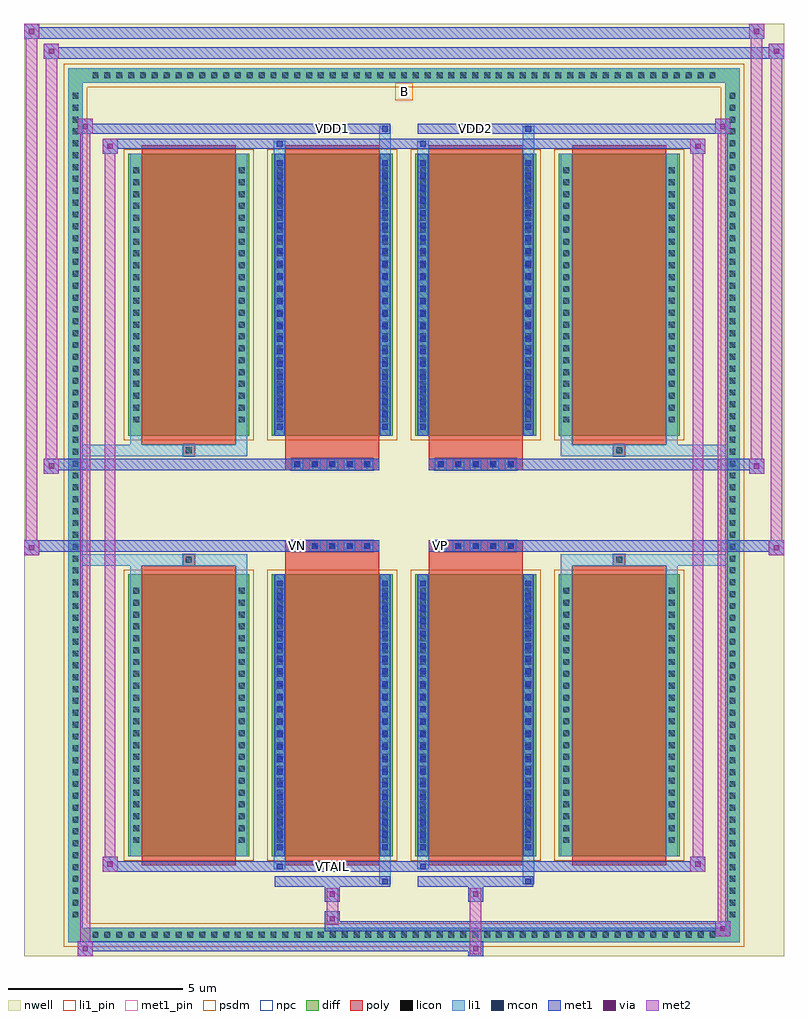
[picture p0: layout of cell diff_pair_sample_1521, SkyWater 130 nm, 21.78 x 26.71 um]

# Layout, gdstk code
import gdstk
lib = gdstk.Library(unit=1e-6, precision=5e-09)
def R(c, l, rs):  # rectangles x0, y0, x1, y1
    for r in rs: c.add(gdstk.rectangle(r[:2], r[2:], *l))
def A(c, l, x, y, w, h, nx, ny, dx, dy):  # array of equal rectangles
    R(c, l, [(x+i*dx, y+j*dy, x+i*dx+w, y+j*dy+h) for i in range(nx) for j in range(ny)])
def P(c, l, *ps):  # polygons
    for p in ps: c.add(gdstk.Polygon(p, *l))
nwell = (64, 20)
diff = (65, 20)
poly = (66, 20)
licon = (66, 44)
li1_pin = (67, 16)
li1 = (67, 20)
mcon = (67, 44)
met1_pin = (68, 16)
met1 = (68, 20)
via = (68, 44)
met2 = (69, 20)
psdm = (94, 20)
npc = (95, 20)

diff_pair_sample_1521 = lib.new_cell('diff_pair_sample_1521')
R(diff_pair_sample_1521, nwell, [(-10.89,-12.92,10.89,13.79), (-8.21,-11.11,-0.01,-0.805), (0.01,-11.11,8.21,-0.805), (-8.21,0.805,-0.01,11.11), (0.01,0.805,8.21,11.11)])
A(diff_pair_sample_1521, diff, -9.045, -12.52, 0.41, 0.41, 53, 2, 0.34, 24.63)
A(diff_pair_sample_1521, diff, -9.62, -11.935, 0.41, 0.41, 1, 70, 0, 0.34)
A(diff_pair_sample_1521, diff, 9.21, -11.935, 0.41, 0.41, 1, 70, 0, 0.34)
A(diff_pair_sample_1521, diff, -7.9, -10.065, 3.47, 8.08, 4, 2, 4.11, 12.05)
R(diff_pair_sample_1521, diff, [(-9.045,-12.52,9.045,-12.11), (-9.62,-11.935,-9.21,11.935), (9.21,-11.935,9.62,11.935), (-9.045,12.11,9.045,12.52)])
P(diff_pair_sample_1521, diff, [(9.62,12.52),(-9.62,12.52),(-9.62,-12.11),(-9.21,-12.11),(-9.21,12.11),(9.21,12.11),(9.21,-12.11),(-9.21,-12.11),(-9.62,-12.11),(-9.62,-12.52),(9.62,-12.52)])
A(diff_pair_sample_1521, poly, -7.51, -10.315, 2.69, 8.58, 4, 2, 4.11, 12.05)
A(diff_pair_sample_1521, poly, -3.22, -1.335, 0.33, 0.33, 5, 2, 0.5, 2.34)
A(diff_pair_sample_1521, poly, 0.89, -1.335, 0.33, 0.33, 5, 2, 0.5, 2.34)
R(diff_pair_sample_1521, poly, [(-6.33,-1.735,-6,-1.405), (-6.33,-1.735,-6,-1.405), (-3.4,-1.735,-0.71,-1.335), (0.71,-1.735,3.4,-1.335), (6,-1.735,6.33,-1.405), (6,-1.735,6.33,-1.405), (-3.4,-1.335,-0.71,-1.005), (0.71,-1.335,3.4,-1.005), (-3.4,1.005,-0.71,1.335), (0.71,1.005,3.4,1.335), (-3.4,1.335,-0.71,1.735), (0.71,1.335,3.4,1.735), (-6.33,1.405,-6,1.735), (-6.33,1.405,-6,1.735), (6,1.405,6.33,1.735), (6,1.405,6.33,1.735)])
A(diff_pair_sample_1521, licon, -8.925, -12.4, 0.17, 0.17, 53, 2, 0.34, 24.63)
A(diff_pair_sample_1521, licon, -9.5, -11.815, 0.17, 0.17, 1, 70, 0, 0.34)
A(diff_pair_sample_1521, licon, 9.33, -11.815, 0.17, 0.17, 1, 70, 0, 0.34)
A(diff_pair_sample_1521, licon, -7.76, -9.68, 0.17, 0.17, 1, 22, 0, 0.34)
A(diff_pair_sample_1521, licon, -4.74, -9.68, 0.17, 0.17, 1, 22, 0, 0.34)
A(diff_pair_sample_1521, licon, -3.65, -9.68, 0.17, 0.17, 1, 22, 0, 0.34)
A(diff_pair_sample_1521, licon, -0.63, -9.68, 0.17, 0.17, 1, 22, 0, 0.34)
A(diff_pair_sample_1521, licon, 0.46, -9.68, 0.17, 0.17, 1, 22, 0, 0.34)
A(diff_pair_sample_1521, licon, 3.48, -9.68, 0.17, 0.17, 1, 22, 0, 0.34)
A(diff_pair_sample_1521, licon, 4.57, -9.68, 0.17, 0.17, 1, 22, 0, 0.34)
A(diff_pair_sample_1521, licon, 7.59, -9.68, 0.17, 0.17, 1, 22, 0, 0.34)
A(diff_pair_sample_1521, licon, -3.14, -1.255, 0.17, 0.17, 5, 2, 0.5, 2.34)
A(diff_pair_sample_1521, licon, 0.97, -1.255, 0.17, 0.17, 5, 2, 0.5, 2.34)
A(diff_pair_sample_1521, licon, -7.76, 2.37, 0.17, 0.17, 1, 22, 0, 0.34)
A(diff_pair_sample_1521, licon, -4.74, 2.37, 0.17, 0.17, 1, 22, 0, 0.34)
A(diff_pair_sample_1521, licon, -3.65, 2.37, 0.17, 0.17, 1, 22, 0, 0.34)
A(diff_pair_sample_1521, licon, -0.63, 2.37, 0.17, 0.17, 1, 22, 0, 0.34)
A(diff_pair_sample_1521, licon, 0.46, 2.37, 0.17, 0.17, 1, 22, 0, 0.34)
A(diff_pair_sample_1521, licon, 3.48, 2.37, 0.17, 0.17, 1, 22, 0, 0.34)
A(diff_pair_sample_1521, licon, 4.57, 2.37, 0.17, 0.17, 1, 22, 0, 0.34)
A(diff_pair_sample_1521, licon, 7.59, 2.37, 0.17, 0.17, 1, 22, 0, 0.34)
R(diff_pair_sample_1521, licon, [(-6.25,-1.655,-6.08,-1.485), (6.08,-1.655,6.25,-1.485), (-6.25,1.485,-6.08,1.655), (6.08,1.485,6.25,1.655)])
R(diff_pair_sample_1521, li1_pin, [(-0.25,11.61,0.25,12.11)])
A(diff_pair_sample_1521, li1, -9.005, -12.48, 0.33, 0.33, 53, 2, 0.34, 24.63)
A(diff_pair_sample_1521, li1, -9.58, -11.895, 0.33, 0.33, 1, 70, 0, 0.34)
A(diff_pair_sample_1521, li1, 9.25, -11.895, 0.33, 0.33, 1, 70, 0, 0.34)
A(diff_pair_sample_1521, li1, -3.65, -9.89, 0.17, 0.17, 1, 22, 0, 0.36)
A(diff_pair_sample_1521, li1, -0.63, -9.89, 0.17, 0.17, 1, 22, 0, 0.36)
A(diff_pair_sample_1521, li1, 0.46, -9.89, 0.17, 0.17, 1, 22, 0, 0.36)
A(diff_pair_sample_1521, li1, 3.48, -9.89, 0.17, 0.17, 1, 22, 0, 0.36)
A(diff_pair_sample_1521, li1, -7.84, -9.76, 0.33, 0.33, 1, 22, 0, 0.34)
A(diff_pair_sample_1521, li1, -4.82, -9.76, 0.33, 0.33, 1, 22, 0, 0.34)
A(diff_pair_sample_1521, li1, -3.73, -9.76, 0.33, 0.33, 1, 22, 0, 0.34)
A(diff_pair_sample_1521, li1, -0.71, -9.76, 0.33, 0.33, 1, 22, 0, 0.34)
A(diff_pair_sample_1521, li1, 0.38, -9.76, 0.33, 0.33, 1, 22, 0, 0.34)
A(diff_pair_sample_1521, li1, 3.4, -9.76, 0.33, 0.33, 1, 22, 0, 0.34)
A(diff_pair_sample_1521, li1, 4.49, -9.76, 0.33, 0.33, 1, 22, 0, 0.34)
A(diff_pair_sample_1521, li1, 7.51, -9.76, 0.33, 0.33, 1, 22, 0, 0.34)
A(diff_pair_sample_1521, li1, -3.22, -1.335, 0.33, 0.33, 5, 2, 0.5, 2.34)
A(diff_pair_sample_1521, li1, 0.89, -1.335, 0.33, 0.33, 5, 2, 0.5, 2.34)
A(diff_pair_sample_1521, li1, -3.65, 2.16, 0.17, 0.17, 1, 22, 0, 0.36)
A(diff_pair_sample_1521, li1, -0.63, 2.16, 0.17, 0.17, 1, 22, 0, 0.36)
A(diff_pair_sample_1521, li1, 0.46, 2.16, 0.17, 0.17, 1, 22, 0, 0.36)
A(diff_pair_sample_1521, li1, 3.48, 2.16, 0.17, 0.17, 1, 22, 0, 0.36)
A(diff_pair_sample_1521, li1, -7.84, 2.29, 0.33, 0.33, 1, 22, 0, 0.34)
A(diff_pair_sample_1521, li1, -4.82, 2.29, 0.33, 0.33, 1, 22, 0, 0.34)
A(diff_pair_sample_1521, li1, -3.73, 2.29, 0.33, 0.33, 1, 22, 0, 0.34)
A(diff_pair_sample_1521, li1, -0.71, 2.29, 0.33, 0.33, 1, 22, 0, 0.34)
A(diff_pair_sample_1521, li1, 0.38, 2.29, 0.33, 0.33, 1, 22, 0, 0.34)
A(diff_pair_sample_1521, li1, 3.4, 2.29, 0.33, 0.33, 1, 22, 0, 0.34)
A(diff_pair_sample_1521, li1, 4.49, 2.29, 0.33, 0.33, 1, 22, 0, 0.34)
A(diff_pair_sample_1521, li1, 7.51, 2.29, 0.33, 0.33, 1, 22, 0, 0.34)
R(diff_pair_sample_1521, li1, [(-9.62,-12.52,-9.21,-12.11), (-9.62,-12.52,-9.21,-12.11), (-9.21,-12.52,9.21,-12.11), (9.21,-12.52,9.62,-12.11), (9.21,-12.52,9.62,-12.11), (-9.62,-12.11,-9.21,12.11), (9.21,-12.11,9.62,12.11), (-0.71,-10.87,-0.38,-10.065), (-0.63,-10.87,-0.46,-10.7), (3.4,-10.87,3.73,-10.065), (3.48,-10.87,3.65,-10.7), (-3.73,-10.44,-3.4,-10.065), (-3.65,-10.44,-3.48,-10.27), (0.38,-10.44,0.71,-10.065), (0.46,-10.44,0.63,-10.27), (-7.84,-10.065,-7.51,-1.985), (-4.82,-10.065,-4.49,-1.985), (-3.73,-10.065,-3.4,-1.985), (-0.71,-10.065,-0.38,-1.985), (0.38,-10.065,0.71,-1.985), (3.4,-10.065,3.73,-1.985), (4.49,-10.065,4.82,-1.985), (7.51,-10.065,7.84,-1.985), (-3.65,-9.89,-3.48,-2.16), (-0.63,-9.89,-0.46,-2.16), (0.46,-9.89,0.63,-2.16), (3.48,-9.89,3.65,-2.16), (-7.84,-1.985,-7.51,-1.405), (-4.82,-1.985,-4.49,-1.405), (4.49,-1.985,4.82,-1.405), (7.51,-1.985,7.84,-1.405), (-9.62,-1.735,-6.33,-1.405), (-7.84,-1.735,-6.33,-1.405), (-6.33,-1.735,-6,-1.405), (-6,-1.735,-4.49,-1.405), (4.49,-1.735,6,-1.405), (6,-1.735,6.33,-1.405), (6,-1.735,9.62,-1.405), (6.33,-1.735,7.84,-1.405), (-9.62,1.405,-6.33,1.735), (-7.84,1.405,-6.33,1.735), (-7.84,1.405,-7.51,1.985), (-6.33,1.405,-6,1.735), (-6,1.405,-4.49,1.735), (-4.82,1.405,-4.49,1.985), (4.49,1.405,6,1.735), (4.49,1.405,4.82,1.985), (6,1.405,6.33,1.735), (6,1.405,9.62,1.735), (6.33,1.405,7.84,1.735), (7.51,1.405,7.84,1.985), (-7.84,1.985,-7.51,10.065), (-4.82,1.985,-4.49,10.065), (-3.73,1.985,-3.4,10.065), (-0.71,1.985,-0.38,10.065), (0.38,1.985,0.71,10.065), (3.4,1.985,3.73,10.065), (4.49,1.985,4.82,10.065), (7.51,1.985,7.84,10.065), (-3.65,2.16,-3.48,9.89), (-0.63,2.16,-0.46,9.89), (0.46,2.16,0.63,9.89), (3.48,2.16,3.65,9.89), (-3.73,10.065,-3.4,10.44), (-0.71,10.065,-0.38,10.87), (0.38,10.065,0.71,10.44), (3.4,10.065,3.73,10.87), (-3.65,10.27,-3.48,10.44), (0.46,10.27,0.63,10.44), (-0.63,10.7,-0.46,10.87), (3.48,10.7,3.65,10.87), (-9.62,12.11,-9.21,12.52), (-9.62,12.11,-9.21,12.52), (-9.21,12.11,9.21,12.52), (9.21,12.11,9.62,12.52), (9.21,12.11,9.62,12.52)])
A(diff_pair_sample_1521, mcon, -3.65, -9.89, 0.17, 0.17, 1, 22, 0, 0.36)
A(diff_pair_sample_1521, mcon, -0.63, -9.89, 0.17, 0.17, 1, 22, 0, 0.36)
A(diff_pair_sample_1521, mcon, 0.46, -9.89, 0.17, 0.17, 1, 22, 0, 0.36)
A(diff_pair_sample_1521, mcon, 3.48, -9.89, 0.17, 0.17, 1, 22, 0, 0.36)
A(diff_pair_sample_1521, mcon, -3.14, -1.255, 0.17, 0.17, 5, 2, 0.5, 2.34)
A(diff_pair_sample_1521, mcon, 0.97, -1.255, 0.17, 0.17, 5, 2, 0.5, 2.34)
A(diff_pair_sample_1521, mcon, -3.65, 2.16, 0.17, 0.17, 1, 22, 0, 0.36)
A(diff_pair_sample_1521, mcon, -0.63, 2.16, 0.17, 0.17, 1, 22, 0, 0.36)
A(diff_pair_sample_1521, mcon, 0.46, 2.16, 0.17, 0.17, 1, 22, 0, 0.36)
A(diff_pair_sample_1521, mcon, 3.48, 2.16, 0.17, 0.17, 1, 22, 0, 0.36)
R(diff_pair_sample_1521, mcon, [(-0.63,-10.87,-0.46,-10.7), (3.48,-10.87,3.65,-10.7), (-3.65,-10.44,-3.48,-10.27), (0.46,-10.44,0.63,-10.27), (-3.65,10.27,-3.48,10.44), (0.46,10.27,0.63,10.44), (-0.63,10.7,-0.46,10.87), (3.48,10.7,3.65,10.87)])
R(diff_pair_sample_1521, met1_pin, [(-2.19,-10.48,-1.92,-10.21), (-3.19,-1.295,-2.92,-1.025), (0.92,-1.295,1.19,-1.025), (-2.19,10.66,-1.92,10.93), (1.92,10.66,2.19,10.93)])
A(diff_pair_sample_1521, met1, -3.71, -9.95, 0.29, 0.29, 1, 22, 0, 0.36)
A(diff_pair_sample_1521, met1, -0.69, -9.95, 0.29, 0.29, 1, 22, 0, 0.36)
A(diff_pair_sample_1521, met1, 0.4, -9.95, 0.29, 0.29, 1, 22, 0, 0.36)
A(diff_pair_sample_1521, met1, 3.42, -9.95, 0.29, 0.29, 1, 22, 0, 0.36)
A(diff_pair_sample_1521, met1, -3.2, -1.315, 0.29, 0.29, 5, 2, 0.5, 2.34)
A(diff_pair_sample_1521, met1, 0.91, -1.315, 0.29, 0.29, 5, 2, 0.5, 2.34)
A(diff_pair_sample_1521, met1, -3.71, 2.1, 0.29, 0.29, 1, 22, 0, 0.36)
A(diff_pair_sample_1521, met1, -0.69, 2.1, 0.29, 0.29, 1, 22, 0, 0.36)
A(diff_pair_sample_1521, met1, 0.4, 2.1, 0.29, 0.29, 1, 22, 0, 0.36)
A(diff_pair_sample_1521, met1, 3.42, 2.1, 0.29, 0.29, 1, 22, 0, 0.36)
R(diff_pair_sample_1521, met1, [(-9.35,-12.92,-8.92,-12.49), (1.84,-12.92,2.27,-12.49), (-9.35,-12.78,2.27,-12.49), (8.92,-12.35,9.35,-11.92), (-2.27,-12.21,9.35,-11.92), (-2.27,-12.07,-1.84,-11.64), (-2.27,-11.36,-1.84,-10.93), (1.84,-11.36,2.27,-10.93), (-3.71,-10.93,-0.4,-10.64), (-0.69,-10.93,-0.4,-10.64), (0.4,-10.93,3.71,-10.64), (3.42,-10.93,3.71,-10.64), (-8.64,-10.5,-8.21,-10.07), (-8.64,-10.5,-3.71,-10.21), (-3.71,-10.5,-3.42,-10.21), (-3.71,-10.5,-0.4,-10.21), (-0.4,-10.5,0.4,-10.21), (0.4,-10.5,0.69,-10.21), (0.4,-10.5,3.71,-10.21), (3.71,-10.5,8.64,-10.21), (8.21,-10.5,8.64,-10.07), (-3.71,-10.065,-3.42,-1.985), (-0.69,-10.065,-0.4,-1.985), (0.4,-10.065,0.69,-1.985), (3.42,-10.065,3.71,-1.985), (-10.89,-1.435,-10.46,-1.005), (10.46,-1.435,10.89,-1.005), (-10.89,-1.335,-0.71,-1.005), (-3.4,-1.335,-0.71,-1.005), (0.71,-1.335,3.4,-1.005), (0.71,-1.335,10.89,-1.005), (-10.32,0.905,-9.89,1.335), (9.89,0.905,10.32,1.335), (-10.32,1.005,-3.4,1.335), (-3.4,1.005,-0.71,1.335), (0.71,1.005,3.4,1.335), (3.4,1.005,10.32,1.335), (-3.71,1.985,-3.42,10.065), (-0.69,1.985,-0.4,10.065), (0.4,1.985,0.69,10.065), (3.42,1.985,3.71,10.065), (-8.64,10.07,-8.21,10.5), (8.21,10.07,8.64,10.5), (-8.64,10.21,-3.71,10.5), (-3.71,10.21,-3.42,10.5), (-3.71,10.21,-0.4,10.5), (-0.4,10.21,0.4,10.5), (0.4,10.21,0.69,10.5), (0.4,10.21,3.71,10.5), (3.71,10.21,8.64,10.5), (-9.35,10.64,-8.92,11.07), (-9.35,10.64,-3.71,10.93), (-3.71,10.64,-0.4,10.93), (-0.69,10.64,-0.4,10.93), (0.4,10.64,3.71,10.93), (3.42,10.64,3.71,10.93), (3.71,10.64,9.35,10.93), (8.92,10.64,9.35,11.07), (-10.32,12.79,-9.89,13.22), (-10.32,12.79,-8.21,13.12), (-8.21,12.79,8.21,13.12), (8.21,12.79,10.89,13.12), (10.46,12.79,10.89,13.22), (-10.89,13.36,-10.46,13.79), (-10.89,13.36,-8.21,13.69), (-8.21,13.36,8.21,13.69), (8.21,13.36,10.32,13.69), (9.89,13.36,10.32,13.79)])
R(diff_pair_sample_1521, via, [(-9.21,-12.78,-9.06,-12.63), (1.98,-12.78,2.13,-12.63), (9.06,-12.21,9.21,-12.06), (-2.13,-11.93,-1.98,-11.78), (-2.13,-11.22,-1.98,-11.07), (1.98,-11.22,2.13,-11.07), (-8.5,-10.36,-8.35,-10.21), (8.35,-10.36,8.5,-10.21), (-10.75,-1.295,-10.6,-1.145), (10.6,-1.295,10.75,-1.145), (-10.18,1.045,-10.03,1.195), (10.03,1.045,10.18,1.195), (-8.5,10.21,-8.35,10.36), (8.35,10.21,8.5,10.36), (-9.21,10.78,-9.06,10.93), (9.06,10.78,9.21,10.93), (-10.18,12.93,-10.03,13.08), (10.6,12.93,10.75,13.08), (-10.75,13.5,-10.6,13.65), (10.03,13.5,10.18,13.65)])
R(diff_pair_sample_1521, met2, [(-9.35,-12.92,-8.92,-12.49), (-9.28,-12.92,-8.99,11.07), (-8.99,-12.92,-8.92,-12.49), (-9.3,-12.87,-8.97,-12.54), (1.89,-12.87,2.22,-12.54), (1.89,-12.54,2.22,-11.31), (8.92,-12.35,9.35,-11.92), (8.99,-12.35,9.28,11.07), (9.28,-12.35,9.35,-11.92), (8.97,-12.3,9.3,-11.97), (-2.22,-12.02,-1.89,-11.69), (-2.22,-11.69,-1.89,-11.31), (-2.22,-11.31,-1.89,-10.98), (1.89,-11.31,2.22,-10.98), (-8.64,-10.5,-8.21,-10.07), (-8.57,-10.5,-8.28,10.5), (-8.28,-10.5,-8.21,-10.07), (8.21,-10.5,8.64,-10.07), (8.28,-10.5,8.57,10.5), (8.57,-10.5,8.64,-10.07), (-8.59,-10.45,-8.26,-10.12), (8.26,-10.45,8.59,-10.12), (-10.89,-1.435,-10.46,-1.005), (-10.84,-1.435,-10.51,13.79), (-10.51,-1.435,-10.46,-1.005), (10.46,-1.435,10.89,-1.005), (10.51,-1.435,10.84,13.22), (10.84,-1.435,10.89,-1.005), (-10.84,-1.385,-10.51,-1.055), (10.51,-1.385,10.84,-1.055), (-10.32,0.905,-9.89,1.335), (-10.27,0.905,-9.94,13.22), (-9.94,0.905,-9.89,1.335), (9.89,0.905,10.32,1.335), (9.94,0.905,10.27,13.79), (10.27,0.905,10.32,1.335), (-10.27,0.955,-9.94,1.285), (9.94,0.955,10.27,1.285), (-8.64,10.07,-8.21,10.5), (-8.28,10.07,-8.21,10.5), (8.21,10.07,8.64,10.5), (8.57,10.07,8.64,10.5), (-8.59,10.12,-8.26,10.45), (8.26,10.12,8.59,10.45), (-9.35,10.64,-8.92,11.07), (-8.99,10.64,-8.92,11.07), (8.92,10.64,9.35,11.07), (9.28,10.64,9.35,11.07), (-9.3,10.69,-8.97,11.02), (8.97,10.69,9.3,11.02), (-10.32,12.79,-9.89,13.22), (-9.94,12.79,-9.89,13.22), (10.46,12.79,10.89,13.22), (10.84,12.79,10.89,13.22), (-10.27,12.84,-9.94,13.17), (10.51,12.84,10.84,13.17), (-10.89,13.36,-10.46,13.79), (-10.51,13.36,-10.46,13.79), (9.89,13.36,10.32,13.79), (10.27,13.36,10.32,13.79), (-10.84,13.41,-10.51,13.74), (9.94,13.41,10.27,13.74)])
A(diff_pair_sample_1521, psdm, -8.03, -10.195, 3.73, 8.34, 4, 2, 4.11, 12.05)
P(diff_pair_sample_1521, psdm, [(9.75,12.65),(-9.75,12.65),(-9.75,-11.98),(-9.08,-11.98),(-9.08,11.98),(9.08,11.98),(9.08,-11.98),(-9.08,-11.98),(-9.75,-11.98),(-9.75,-12.65),(9.75,-12.65)])
A(diff_pair_sample_1521, npc, -3.24, -1.355, 0.37, 0.37, 5, 2, 0.5, 2.34)
A(diff_pair_sample_1521, npc, 0.87, -1.355, 0.37, 0.37, 5, 2, 0.5, 2.34)
R(diff_pair_sample_1521, npc, [(-6.35,-1.755,-5.98,-1.385), (5.98,-1.755,6.35,-1.385), (-3.24,-1.355,-2.37,-0.985), (-3.24,-1.355,-2.37,-0.985), (-2.74,-1.355,-1.87,-0.985), (-2.74,-1.355,-1.87,-0.985), (-2.24,-1.355,-1.37,-0.985), (-2.24,-1.355,-1.37,-0.985), (-1.74,-1.355,-0.87,-0.985), (-1.74,-1.355,-0.87,-0.985), (0.87,-1.355,1.74,-0.985), (0.87,-1.355,1.74,-0.985), (1.37,-1.355,2.24,-0.985), (1.37,-1.355,2.24,-0.985), (1.87,-1.355,2.74,-0.985), (1.87,-1.355,2.74,-0.985), (2.37,-1.355,3.24,-0.985), (2.37,-1.355,3.24,-0.985), (-3.24,0.985,-2.37,1.355), (-3.24,0.985,-2.37,1.355), (-2.74,0.985,-1.87,1.355), (-2.74,0.985,-1.87,1.355), (-2.24,0.985,-1.37,1.355), (-2.24,0.985,-1.37,1.355), (-1.74,0.985,-0.87,1.355), (-1.74,0.985,-0.87,1.355), (0.87,0.985,1.74,1.355), (0.87,0.985,1.74,1.355), (1.37,0.985,2.24,1.355), (1.37,0.985,2.24,1.355), (1.87,0.985,2.74,1.355), (1.87,0.985,2.74,1.355), (2.37,0.985,3.24,1.355), (2.37,0.985,3.24,1.355), (-6.35,1.385,-5.98,1.755), (5.98,1.385,6.35,1.755)])
diff_pair_sample_1521.add(gdstk.Label('VTAIL', (-2.055,-10.345), layer=68, texttype=5))
diff_pair_sample_1521.add(gdstk.Label('VN', (-3.055,-1.16), layer=68, texttype=5))
diff_pair_sample_1521.add(gdstk.Label('VP', (1.055,-1.16), layer=68, texttype=5))
diff_pair_sample_1521.add(gdstk.Label('B', (0,11.86), layer=67, texttype=5))
diff_pair_sample_1521.add(gdstk.Label('VDD2', (2.055,10.795), layer=68, texttype=5))
diff_pair_sample_1521.add(gdstk.Label('VDD1', (-2.055,10.795), layer=68, texttype=5))

lib.write_gds('diff_pair_sample_1521.gds')
